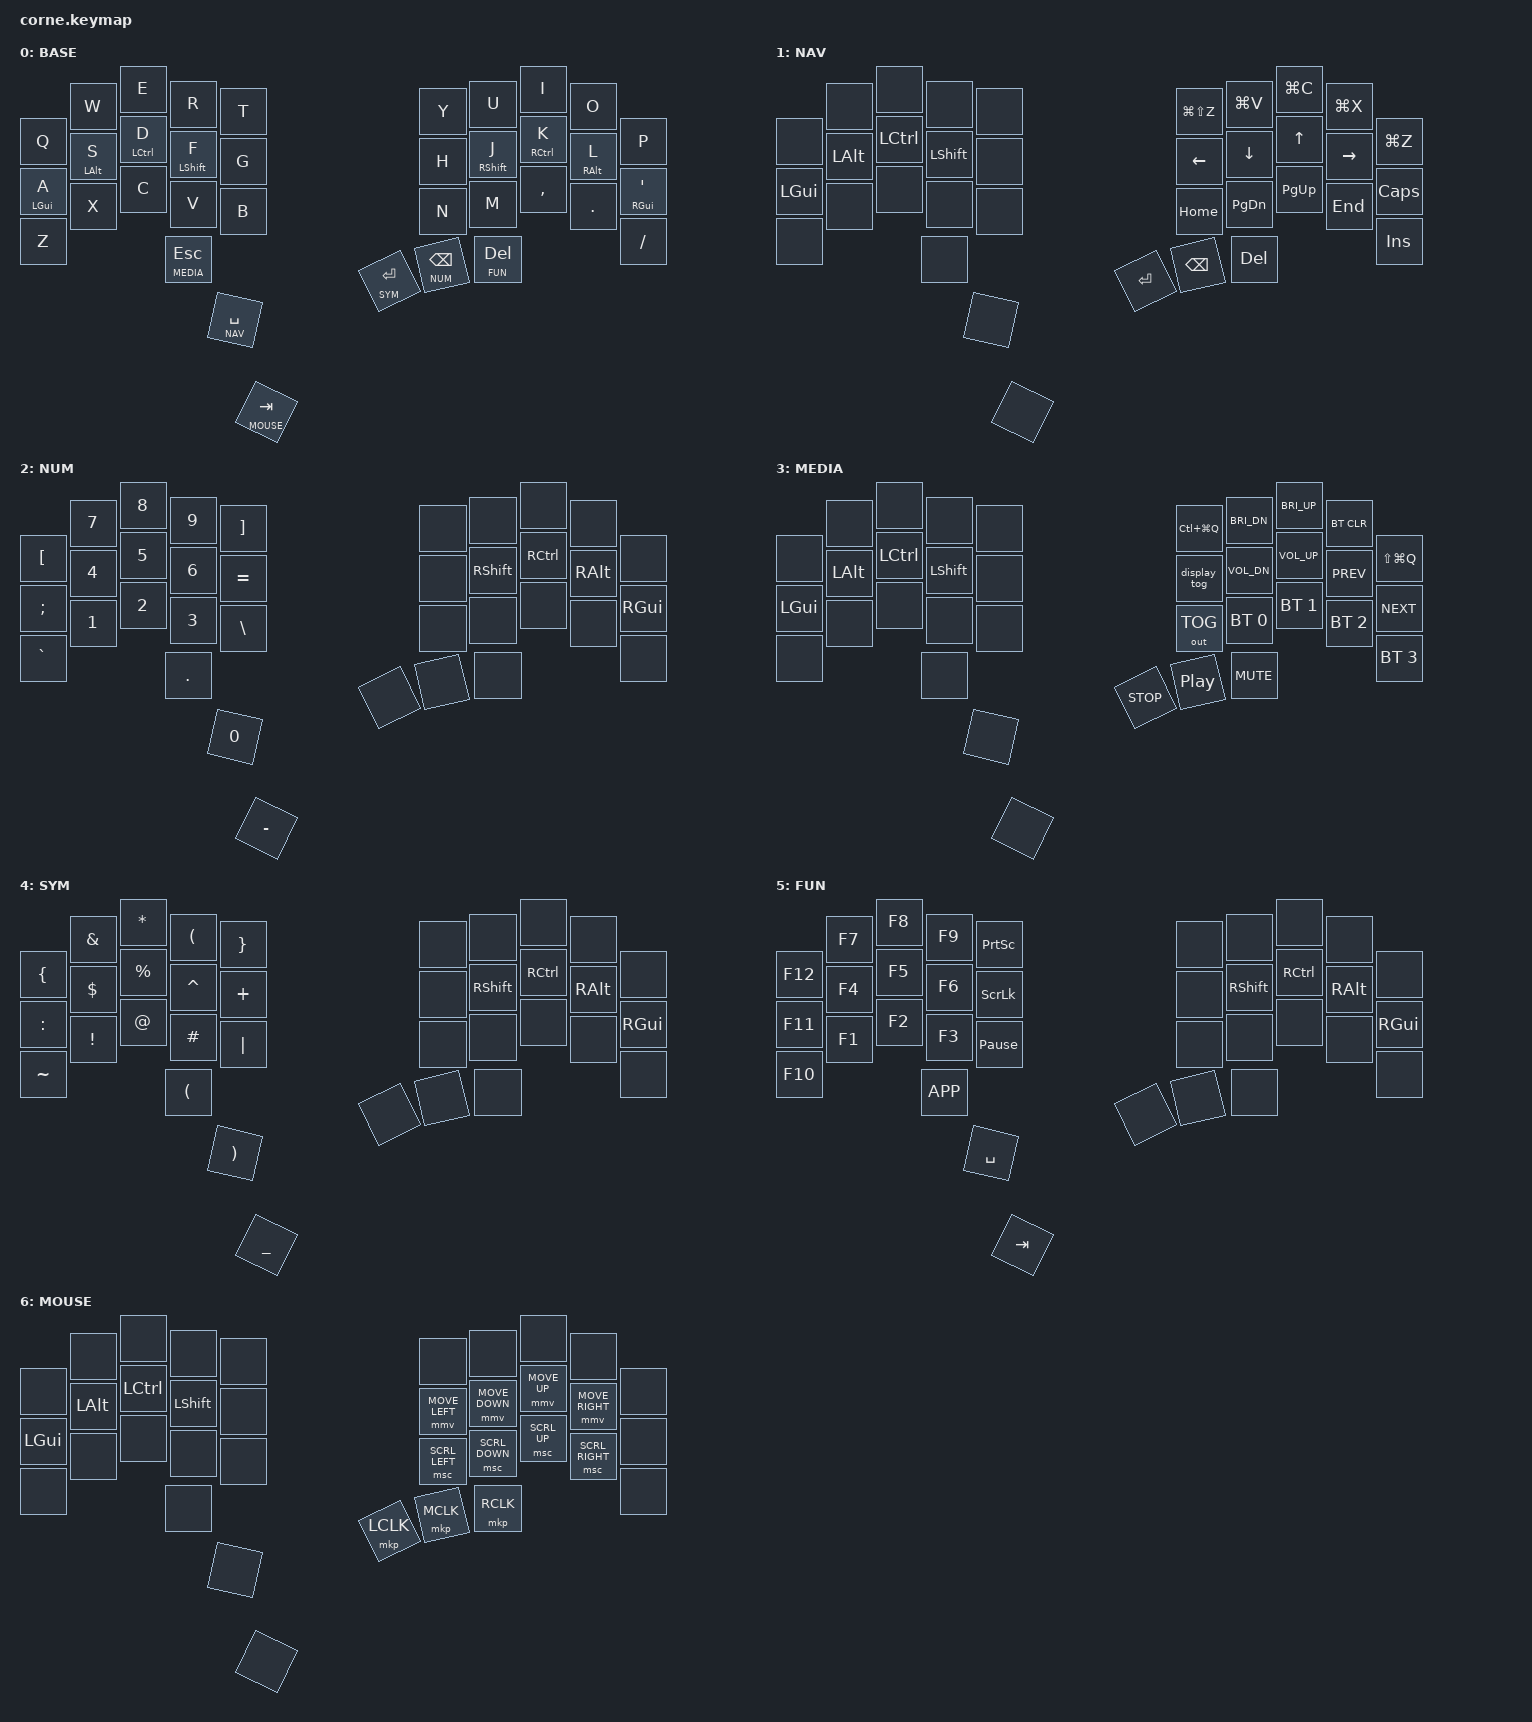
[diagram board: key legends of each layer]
// FilePath: config/corne.keymap

/*
 * Copyright (c) 2020 The ZMK Contributors
 *
 * SPDX-License-Identifier: MIT
 */

// ══════════════════════════════════════════════════════════════════════════════
//   WHAT IS THIS FILE?
//
//   This is the keymap for a Corne split keyboard running ZMK firmware.
//   It is written in Devicetree source format (.keymap / .dtsi): a structured
//   text language that ZMK compiles into firmware you flash to the keyboard.
//   You never write raw HID keycodes or register values — you declare what
//   each key should do and the firmware handles the rest.
//
//   LAYOUT PHILOSOPHY — MIRYOKU-STYLE QWERTY
//
//   This layout follows the Miryoku philosophy: standard QWERTY alpha keys,
//   but every home row key doubles as a modifier when held. This is called
//   "home row mods". The modifier order is GACS (left to right):
//     A = GUI (⌘/Win)  S = ALT  D = CTRL  F = SHIFT  (left hand)
//     ' = GUI          L = ALT  K = CTRL  J = SHIFT  (right hand, mirrored)
//   Tap the key quickly → you get the letter. Hold it for ~200 ms → modifier.
//   This keeps your fingers on the home row and eliminates pinky stretches.
//
//   LAYERS — HOW TO ACCESS ALTERNATE KEY SETS
//
//   A "layer" is an overlay that replaces some or all keys with different
//   outputs. Layers are activated by holding a thumb key. When you release
//   the thumb, the keyboard returns to BASE. There are 7 layers total:
//
//     Layer 0  BASE   — Always active. QWERTY + home row mods.
//     Layer 1  NAV    — Vim arrows (HJKL), Home/End, clipboard. Hold: SPACE.
//     Layer 2  NUM    — Numpad (7-8-9 / 4-5-6 / 1-2-3), brackets. Hold: BSPC.
//     Layer 3  MEDIA  — Volume, brightness, Bluetooth, lock/BT-clear/logout. Hold: ESC.
//     Layer 4  SYM    — Symbols: { } & * ( ) : $ % ^ ~ ! @ # |. Hold: ENTER.
//     Layer 5  FUN    — Function keys F1–F12, Print Screen, Pause. Hold: DEL.
//     Layer 6  MOUSE  — Mouse cursor, scroll wheel, mouse buttons. Hold: TAB.
// ══════════════════════════════════════════════════════════════════════════════

// ──────────────────────────────────────────────────────────────────────────────
//   Corne Keymap — Miryoku-inspired QWERTY with home row mods
// ──────────────────────────────────────────────────────────────────────────────
//
//   Philosophy: keep every finger on or near the home row at all times.
//   Modifiers are embedded in the home row alpha keys (hold = modifier,
//   tap = letter). Layers activate via held thumb keys.
//
//   Miryoku-style layout — QWERTY base, vim arrows (HJKL), GACS home row mods
//   Adapted from TOTEM config for Corne (42-key hardware, configured for 36-key use)
//
//   Layer 0: BASE    — QWERTY + home row mods
//   Layer 1: NAV     — vim arrows, clipboard, nav (hold SPACE)
//   Layer 2: NUM     — numpad left hand (hold BSPC)
//   Layer 3: MEDIA   — media, BT, brightness, lock/BT-clear/logout (hold ESC)
//   Layer 4: SYM     — symbols left hand (hold ENTER)
//   Layer 5: FUN     — function keys left hand (hold DEL)
//   Layer 6: MOUSE   — mouse movement, scroll, buttons (hold TAB)

// ──────────────────────────────────────────────────────────────────────────────
//   Includes
// ──────────────────────────────────────────────────────────────────────────────

// Core ZMK behavior definitions: &mt (mod-tap) and &lt (layer-tap) are
// the built-in behaviors referenced in this file.
#include <behaviors.dtsi>

// Bluetooth control bindings: BT_SEL n (select profile); the MEDIA layer
// uses BT_SEL 0–3 (4 profiles).
#include <dt-bindings/zmk/bt.h>

// Standard HID key codes for every alpha, number, modifier, symbol, and special
// key (TAB, ESC, LGUI, LSHFT, etc.). Required for &kp and &mt bindings.
#include <dt-bindings/zmk/keys.h>

// Output selector bindings (OUT_TOG / OUT_USB / OUT_BLE): switch the active HID
// output between the USB cable and a Bluetooth profile on the fly.
#include <dt-bindings/zmk/outputs.h>

// Pointing device bindings: mmv (mouse move), msc (scroll), mkp (mouse button).
// Requires CONFIG_ZMK_POINTING=y in corne.conf and a recent ZMK build.
#include <dt-bindings/zmk/pointing.h>


// ──────────────────────────────────────────────────────────────────────────────
//   Layer index constants
// ──────────────────────────────────────────────────────────────────────────────
//
//   ZMK layer numbers are plain integers (0-based). Naming them here keeps the
//   keymap readable: &lt NAV SPACE is immediately clear, while &lt 1 SPACE is
//   not. Adding a new layer only requires inserting one #define — no need to
//   audit every binding that references a raw number.

// Always-active base typing layer at the bottom of the layer stack.
#define BASE  0

// Navigation: vim-style cursor movement and clipboard (thumb: hold SPACE).
#define NAV   1

// Numbers: columnar numpad on the left hand (thumb: hold BSPC).
#define NUM   2

// Media & connectivity: volume, playback, Bluetooth (thumb: hold ESC).
#define MEDIA 3

// Symbols: programmer symbol set on the left hand (thumb: hold ENTER).
#define SYM   4

// Function keys: F1–F12 on the left hand (thumb: hold DEL).
#define FUN   5

// Mouse: pointer movement and scroll on the right hand (thumb: hold TAB).
#define MOUSE 6

// ──────────────────────────────────────────────────────────────────────────────
//   &mt — Mod-Tap: global behaviour overrides for home row modifiers
// ──────────────────────────────────────────────────────────────────────────────
//
//   Usage: &mt MODIFIER letter_key
//   Hold → sends the modifier. Tap → sends the letter.
//
//   These settings are tuned for comfortable home row mod usage: letters come
//   out reliably during fast typing, modifiers fire on deliberate holds only.

&mt {
    // "tap-preferred" resolves ambiguous press+release sequences in favour of
    // the tap (letter) output. If you press the mod-tap key and release it
    // before tapping-term-ms elapses — even while another key is held — ZMK
    // records a tap. The modifier only activates on a sustained hold with no
    // release during the window. This prevents accidental modifier firing when
    // rolling quickly across the home row.
    flavor = "tap-preferred";

    // The hold/tap decision window in milliseconds. Holding the key for longer
    // than 200 ms with no release triggers the modifier. Shorter than this and
    // tap-preferred kicks in. 200 ms is a comfortable middle ground: long enough
    // to avoid misfires while touch-typing, short enough that intentional holds
    // feel instant.
    tapping-term-ms = <200>;

    // If the same mod-tap key is pressed again within 175 ms of its previous
    // release, ZMK treats the second press as a tap regardless of how long it is
    // held. This enables fast key-repeat (tap once, then hold to repeat the
    // letter) without accidentally engaging the modifier on the second press.
    quick-tap-ms = <175>;

    // The keyboard must have been idle for at least 150 ms before a hold on
    // this key can activate the modifier. This is the most important setting for
    // avoiding phantom modifiers: when typing quickly, the natural pause before
    // intentionally reaching for a modifier is longer than 150 ms, so legitimate
    // mods still fire. But a home row key pressed immediately after another key
    // (a common typing roll) will never accidentally trigger a modifier.
    require-prior-idle-ms = <150>;
};

// ──────────────────────────────────────────────────────────────────────────────
//   &lt — Layer-Tap: global behaviour overrides for thumb cluster keys
// ──────────────────────────────────────────────────────────────────────────────
//
//   Usage: &lt LAYER_NUMBER key
//   Hold → activates the named layer. Tap → sends the key.
//
//   Uses "balanced" flavour (unlike &mt's "tap-preferred") because thumb-held
//   layer switches usually overlap with other keys being pressed on the opposite
//   hand. Balanced correctly resolves these overlapping chords as a layer hold.

&lt {
    // "balanced" resolves the hold/tap decision when another key is both pressed
    // AND released inside the tapping-term window. In that case ZMK decides it
    // was a layer hold — you get the layer output for that overlapping key.
    // This makes "thumb down → finger presses key → thumb up" sequences reliable
    // at any typing speed, which is the primary usage pattern for layer-tap keys.
    flavor = "balanced";

    // Same 200 ms window as &mt for a consistent feel across the whole keyboard.
    // Thumb holds for layer access feel snappy at this value.
    tapping-term-ms = <200>;

    // Enables tap-then-hold to repeat the tapped key (e.g. tap BSPC, then hold
    // BSPC again to keep deleting). Without this, the second hold would activate
    // the NUM layer instead of repeating backspace.
    quick-tap-ms = <175>;
};

/ {

    behaviors {
        display_tog: display_toggle {
            compatible = "zmk,behavior-display-toggle";
            #binding-cells = <0>;
        };
    };

    keymap {
        compatible = "zmk,keymap";

        // ──────────────────────────────────────────────────────────────────────
        //   Layer 0: BASE — QWERTY with GACS home row mods
        // ──────────────────────────────────────────────────────────────────────
        //
        //   The default layer — always active unless a thumb hold overrides it.
        //   Standard QWERTY alpha layout with no surprises to the fingers, but
        //   every home row key doubles as a modifier on hold.
        //
        //   Home row mods follow the GACS order (left to right on each hand):
        //     Left hand:   A = GUI (⌘/Win)   S = Alt   D = Ctrl   F = Shift
        //     Right hand:  J = Shift   K = Ctrl   L = Alt   ' = GUI (⌘/Win)
        //   GACS places Shift on the index finger (closest to the centre)
        //   because it is by far the most-used modifier. GUI/Win sits on the
        //   pinky because it is the least frequently used in isolation.
        //
        //   Thumb cluster — hold activates the layer, tap sends the key:
        //     Left:   [MEDIA/ESC]  [NAV/SPACE]  [MOUSE/TAB]
        //     Right:  [SYM/ENTER]  [NUM/BSPC]   [FUN/DEL]
        //
        // ┌─────────┬─────────┬─────────┬─────────┬─────────┐   ┌─────────┬─────────┬─────────┬─────────┬─────────┐
        // │    Q    │    W    │    E    │    R    │    T    │   │    Y    │    U    │    I    │    O    │    P    │
        // ├─────────┼─────────┼─────────┼─────────┼─────────┤   ├─────────┼─────────┼─────────┼─────────┼─────────┤
        // │  GUI/A  │  ALT/S  │ CTRL/D  │ SHFT/F  │    G    │   │    H    │ SHFT/J  │ CTRL/K  │  ALT/L  │  GUI/'  │
        // ├─────────┼─────────┼─────────┼─────────┼─────────┤   ├─────────┼─────────┼─────────┼─────────┼─────────┤
        // │    Z    │    X    │    C    │    V    │    B    │   │    N    │    M    │    ,    │    .    │    /    │
        // └─────────┴─────────┴─────────┴─────────┴─────────┘   └─────────┴─────────┴─────────┴─────────┴─────────┘
        //                               ┌──────────────┬──────────────┬──────────────┐   ┌──────────────┬──────────────┬──────────────┐
        //                               │  MEDIA / ESC │  NAV / SPC  │ MOUSE / TAB  │   │  SYM / RET   │  NUM / BSPC  │  FUN / DEL   │
        //                               └──────────────┴──────────────┴──────────────┘   └──────────────┴──────────────┴──────────────┘
        base_layer {
            display-name = "BASE";
            bindings = <
&kp Q       &kp W       &kp E         &kp R         &kp T          &kp Y       &kp U         &kp I         &kp O        &kp P
&mt LGUI A  &mt LALT S  &mt LCTRL D   &mt LSHFT F   &kp G          &kp H       &mt RSHFT J   &mt RCTRL K   &mt RALT L   &mt RGUI SQT
&kp Z       &kp X       &kp C         &kp V         &kp B          &kp N       &kp M         &kp COMMA     &kp DOT      &kp FSLH
                        &lt MEDIA ESC &lt NAV SPACE &lt MOUSE TAB  &lt SYM RET &lt NUM BSPC  &lt FUN DEL
            >;
        };

        // ──────────────────────────────────────────────────────────────────────
        //   Layer 1: NAV — Navigation and clipboard (thumb: hold SPACE)
        // ──────────────────────────────────────────────────────────────────────
        //
        //   Activated by holding the centre-left thumb key. Tap still sends Space.
        //
        //   Right hand — navigation cluster:
        //     Top row:    Redo (⌘⇧Z)  Paste (⌘V)  Copy (⌘C)  Cut (⌘X)  Undo (⌘Z)
        //       Clipboard shortcuts fill the top row so they're reachable while
        //       the left thumb holds NAV and the right hand navigates.
        //     Home row:   ← ↓ ↑ → on H J K L (vim arrow positions), then Caps Lock
        //       Pure muscle memory transfer from vim/tmux to system-level navigation.
        //     Bottom row: Home  PgDn  PgUp  End  Insert
        //       Extends the arrow cluster downward in the same HJKL columns.
        //
        //   Left hand — bare modifiers on the home row (no alpha output):
        //     GUI  Alt  Ctrl  Shift
        //     Hold any of these while the right hand navigates to select text
        //     (Shift+arrows), jump words (Alt+arrows), or invoke shortcuts.
        //
        //   Thumb right: RET, BSPC, DEL remain active so you can confirm,
        //   delete, or backspace while navigating — no need to release the layer.
        //
        // ┌─────────┬─────────┬─────────┬─────────┬─────────┐   ┌─────────┬─────────┬─────────┬─────────┬─────────┐
        // │   ---   │   ---   │   ---   │   ---   │   ---   │   │  REDO   │  PASTE  │  COPY   │   CUT   │  UNDO   │
        // ├─────────┼─────────┼─────────┼─────────┼─────────┤   ├─────────┼─────────┼─────────┼─────────┼─────────┤
        // │   GUI   │   ALT   │  CTRL   │  SHFT   │   ---   │   │  LEFT   │  DOWN   │   UP    │  RIGHT  │  CAPS   │
        // ├─────────┼─────────┼─────────┼─────────┼─────────┤   ├─────────┼─────────┼─────────┼─────────┼─────────┤
        // │   ---   │   ---   │   ---   │   ---   │   ---   │   │  HOME   │  PGDN   │  PGUP   │   END   │   INS   │
        // └─────────┴─────────┴─────────┴─────────┴─────────┘   └─────────┴─────────┴─────────┴─────────┴─────────┘
        //                               ┌──────────────┬──────────────┬──────────────┐   ┌──────────────┬──────────────┬──────────────┐
        //                               │     ---      │   [HELD]     │     ---      │   │     RET      │     BSPC     │     DEL      │
        //                               └──────────────┴──────────────┴──────────────┘   └──────────────┴──────────────┴──────────────┘
        nav_layer {
            display-name = "NAV";
            bindings = <
&none       &none       &none         &none         &none          &kp LG(LS(Z)) &kp LG(V)   &kp LG(C)     &kp LG(X)    &kp LG(Z)
&kp LGUI    &kp LALT    &kp LCTRL     &kp LSHFT     &none          &kp LEFT    &kp DOWN      &kp UP        &kp RIGHT    &kp CAPS
&none       &none       &none         &none         &none          &kp HOME    &kp PG_DN     &kp PG_UP     &kp END      &kp INS
                        &none         &none         &none          &kp RET     &kp BSPC      &kp DEL
            >;
        };

        // ──────────────────────────────────────────────────────────────────────
        //   Layer 2: NUM — Columnar numpad (thumb: hold BSPC)
        // ──────────────────────────────────────────────────────────────────────
        //
        //   Activated by holding the centre-right thumb key. Tap still sends BSPC.
        //
        //   Left hand — numpad layout across three rows:
        //     Top row:    [  7  8  9  ]
        //     Home row:   ;  4  5  6  =
        //     Bottom row: `  1  2  3  \
        //   The digit columns match a hardware numpad's layout (7-8-9 on top,
        //   then 4-5-6, then 1-2-3) so numpad muscle memory transfers directly.
        //   Flanking characters [ ] ; = ` \ are the punctuation marks most
        //   commonly needed alongside numbers in code (array indexing, assignment,
        //   bitwise ops, path separators).
        //
        //   Thumb left: .  0  -
        //   Decimal point, zero, and minus complete the numpad; these three keys
        //   let you type any number or simple arithmetic expression without
        //   shifting the left hand off its home position.
        //
        //   Right hand — held modifiers on the home row:
        //     Shift  Ctrl  Alt  GUI
        //   Allows modifier+number shortcuts (e.g. ⌘1–9 for tabs/windows) and
        //   Shift+number for the shifted symbol set on non-US layouts.
        //
        // ┌─────────┬─────────┬─────────┬─────────┬─────────┐   ┌─────────┬─────────┬─────────┬─────────┬─────────┐
        // │    [    │    7    │    8    │    9    │    ]    │   │   ---   │   ---   │   ---   │   ---   │   ---   │
        // ├─────────┼─────────┼─────────┼─────────┼─────────┤   ├─────────┼─────────┼─────────┼─────────┼─────────┤
        // │    ;    │    4    │    5    │    6    │    =    │   │   ---   │  SHFT   │  CTRL   │   ALT   │   GUI   │
        // ├─────────┼─────────┼─────────┼─────────┼─────────┤   ├─────────┼─────────┼─────────┼─────────┼─────────┤
        // │    `    │    1    │    2    │    3    │    \    │   │   ---   │   ---   │   ---   │   ---   │   ---   │
        // └─────────┴─────────┴─────────┴─────────┴─────────┘   └─────────┴─────────┴─────────┴─────────┴─────────┘
        //                               ┌──────────────┬──────────────┬──────────────┐   ┌──────────────┬──────────────┬──────────────┐
        //                               │      .       │      0       │      -       │   │     ---      │   [HELD]     │     ---      │
        //                               └──────────────┴──────────────┴──────────────┘   └──────────────┴──────────────┴──────────────┘
        num_layer {
            display-name = "NUM";
            bindings = <
&kp LBKT    &kp N7      &kp N8        &kp N9        &kp RBKT       &none       &none         &none         &none        &none
&kp SEMI    &kp N4      &kp N5        &kp N6        &kp EQUAL      &none       &kp RSHFT     &kp RCTRL     &kp RALT     &kp RGUI
&kp GRAVE   &kp N1      &kp N2        &kp N3        &kp BSLH       &none       &none         &none         &none        &none
                        &kp DOT       &kp N0        &kp MINUS      &none       &none         &none
            >;
        };

        // ──────────────────────────────────────────────────────────────────────
        //   Layer 3: MEDIA — Media, Bluetooth, Power (thumb: hold ESC)
        // ──────────────────────────────────────────────────────────────────────
        //
        //   Activated by holding the leftmost left-thumb key. Tap still sends ESC.
        //   This is the "system settings" layer — everything that changes how the
        //   keyboard behaves or what it connects to lives here.
        //
        //   Right hand — top row: session + screen controls, inner → outer:
        //     LOCK  (⌃⌘Q)     — lock the screen
        //     BRI_DN / BRI_UP — screen brightness, above the C_VOL_DN / C_VOL_UP keys
        //     BT_CLR          — clear the bond for the currently selected Bluetooth profile (re-pair that profile)
        //     LOGOUT (⇧⌘Q)    — log out (shows the macOS logout dialog)
        //
        //   Right hand — home row (system-level controls):
        //     DISP_TOG — toggle OLED display on/off (BLANK_ON_IDLE=n makes this the sole owner)
        //     C_VOL_DN — volume down
        //     C_VOL_UP — volume up
        //     C_PREV   — previous track
        //     C_NEXT   — next track
        //
        //   Right hand — bottom row (Bluetooth and output):
        //     OUT_TOG    — toggle between USB and Bluetooth HID output
        //     BT_SEL 0–3 — switch the active Bluetooth profile (0 = first paired device)
        //
        //   Thumb right: Stop  Play/Pause  Mute — transport controls under the right thumb.
        //   Left hand: bare held modifiers (same pattern as NAV/NUM).
        //
        // ┌─────────┬─────────┬─────────┬─────────┬─────────┐   ┌─────────┬─────────┬─────────┬─────────┬─────────┐
        // │   ---   │   ---   │   ---   │   ---   │   ---   │   │  LOCK   │ BRI_DN  │ BRI_UP  │ BT_CLR  │ LOGOUT  │
        // ├─────────┼─────────┼─────────┼─────────┼─────────┤   ├─────────┼─────────┼─────────┼─────────┼─────────┤
        // │   GUI   │   ALT   │  CTRL   │  SHFT   │   ---   │   │DISP_TOG │ VOL_DN  │ VOL_UP  │ C_PREV  │ C_NEXT  │
        // ├─────────┼─────────┼─────────┼─────────┼─────────┤   ├─────────┼─────────┼─────────┼─────────┼─────────┤
        // │   ---   │   ---   │   ---   │   ---   │   ---   │   │OUT_TOG  │  BT 0   │  BT 1   │  BT 2   │  BT 3   │
        // └─────────┴─────────┴─────────┴─────────┴─────────┘   └─────────┴─────────┴─────────┴─────────┴─────────┘
        //                               ┌──────────────┬──────────────┬──────────────┐   ┌──────────────┬──────────────┬──────────────┐
        //                               │   [HELD]     │     ---      │     ---      │   │     STOP     │  PLAY/PAUSE  │     MUTE     │
        //                               └──────────────┴──────────────┴──────────────┘   └──────────────┴──────────────┴──────────────┘
        media_layer {
            display-name = "MEDIA";
            bindings = <
&none       &none       &none         &none         &none          &kp LC(LG(Q))  &kp C_BRI_DN   &kp C_BRI_UP   &bt BT_CLR     &kp LS(LG(Q))
&kp LGUI    &kp LALT    &kp LCTRL     &kp LSHFT     &none          &display_tog   &kp C_VOL_DN   &kp C_VOL_UP   &kp C_PREV   &kp C_NEXT
&none       &none       &none         &none         &none          &out OUT_TOG &bt BT_SEL 0  &bt BT_SEL 1  &bt BT_SEL 2 &bt BT_SEL 3
                        &none         &none         &none          &kp C_STOP  &kp C_PP      &kp C_MUTE
            >;
        };

        // ──────────────────────────────────────────────────────────────────────
        //   Layer 4: SYM — Programmer symbols (thumb: hold ENTER)
        // ──────────────────────────────────────────────────────────────────────
        //
        //   Activated by holding the leftmost right-thumb key. Tap still sends Enter.
        //
        //   Left hand — all symbols, arranged in three rows mirroring NUM's layout:
        //     Top row:    {  &  *  (  }
        //       Curly braces bracket the row (common in all C-family and shell code).
        //       Inner keys carry the "top-row shifted" symbols: & * (
        //     Home row:   :  $  %  ^  +
        //       Colon on the pinky mirrors ; from NUM — : and ; are paired opposites.
        //       Dollar, percent, caret, plus fill in the remaining shifted digits.
        //     Bottom row: ~  !  @  #  |
        //       Shell metacharacters and common punctuation: tilde (home dir),
        //       bang (negation/shebang), at (email/decorator), hash (comment/tag),
        //       pipe (shell redirect).
        //
        //   Thumb left:  (  )  _
        //     Open paren, close paren, and underscore on the thumb cluster allow
        //     typing (expression) and snake_case identifiers with thumb + finger
        //     combos, keeping the left hand free for modifiers if needed.
        //
        //   Right hand: held modifiers on the home row (Shift, Ctrl, Alt, GUI).
        //   Everything else on the right is blank — SYM is a left-hand-only layer.
        //
        // ┌─────────┬─────────┬─────────┬─────────┬─────────┐   ┌─────────┬─────────┬─────────┬─────────┬─────────┐
        // │    {    │    &    │    *    │    (    │    }    │   │   ---   │   ---   │   ---   │   ---   │   ---   │
        // ├─────────┼─────────┼─────────┼─────────┼─────────┤   ├─────────┼─────────┼─────────┼─────────┼─────────┤
        // │    :    │    $    │    %    │    ^    │    +    │   │   ---   │  SHFT   │  CTRL   │   ALT   │   GUI   │
        // ├─────────┼─────────┼─────────┼─────────┼─────────┤   ├─────────┼─────────┼─────────┼─────────┼─────────┤
        // │    ~    │    !    │    @    │    #    │    |    │   │   ---   │   ---   │   ---   │   ---   │   ---   │
        // └─────────┴─────────┴─────────┴─────────┴─────────┘   └─────────┴─────────┴─────────┴─────────┴─────────┘
        //                               ┌──────────────┬──────────────┬──────────────┐   ┌──────────────┬──────────────┬──────────────┐
        //                               │      (       │      )       │      _       │   │   [HELD]     │     ---      │     ---      │
        //                               └──────────────┴──────────────┴──────────────┘   └──────────────┴──────────────┴──────────────┘
        sym_layer {
            display-name = "SYM";
            bindings = <
&kp LBRC    &kp AMPS    &kp ASTRK     &kp LPAR      &kp RBRC       &none       &none         &none         &none        &none
&kp COLON   &kp DLLR    &kp PRCNT     &kp CARET     &kp PLUS       &none       &kp RSHFT     &kp RCTRL     &kp RALT     &kp RGUI
&kp TILDE   &kp EXCL    &kp AT        &kp HASH      &kp PIPE       &none       &none         &none         &none        &none
                        &kp LPAR      &kp RPAR      &kp UNDER      &none       &none         &none
            >;
        };

        // ──────────────────────────────────────────────────────────────────────
        //   Layer 5: FUN — Function keys F1–F12 (thumb: hold DEL)
        // ──────────────────────────────────────────────────────────────────────
        //
        //   Activated by holding the rightmost right-thumb key. Tap still sends DEL.
        //
        //   Left hand — F-keys in the same columnar numpad layout as NUM digits:
        //     Top row:    F12  F7  F8  F9  PSCRN (Print Screen)
        //     Home row:   F11  F4  F5  F6  SLCK  (Scroll Lock)
        //     Bottom row: F10  F1  F2  F3  PAUSE_BREAK
        //   F7–F9, F4–F6, F1–F3 follow the same 7-8-9 / 4-5-6 / 1-2-3 column
        //   positions as the numpad, so the muscle memory from NUM transfers.
        //   F10/F11/F12 fill the pinky column (mirroring how a numpad has an
        //   extra row at the top). PSCRN, SLCK, PAUSE_BREAK occupy the rightmost
        //   column — the "extra cluster" that traditionally sits beside F-keys.
        //
        //   Thumb left: K_APP (context-menu/application key)  SPACE  TAB
        //     These allow combinations like Alt+F4, Shift+F6, or App+F10
        //     without needing a second thumb held down.
        //
        //   Right hand: held modifiers on the home row (Shift, Ctrl, Alt, GUI).
        //   All other right-hand keys are blank — FUN is a left-hand-only layer.
        //
        // ┌─────────┬─────────┬─────────┬─────────┬─────────┐   ┌─────────┬─────────┬─────────┬─────────┬─────────┐
        // │   F12   │   F7    │   F8    │   F9    │  PSCRN  │   │   ---   │   ---   │   ---   │   ---   │   ---   │
        // ├─────────┼─────────┼─────────┼─────────┼─────────┤   ├─────────┼─────────┼─────────┼─────────┼─────────┤
        // │   F11   │   F4    │   F5    │   F6    │  SLCK   │   │   ---   │  SHFT   │  CTRL   │   ALT   │   GUI   │
        // ├─────────┼─────────┼─────────┼─────────┼─────────┤   ├─────────┼─────────┼─────────┼─────────┼─────────┤
        // │   F10   │   F1    │   F2    │   F3    │  PAUSE  │   │   ---   │   ---   │   ---   │   ---   │   ---   │
        // └─────────┴─────────┴─────────┴─────────┴─────────┘   └─────────┴─────────┴─────────┴─────────┴─────────┘
        //                               ┌──────────────┬──────────────┬──────────────┐   ┌──────────────┬──────────────┬──────────────┐
        //                               │    K_APP     │    SPACE     │     TAB      │   │     ---      │     ---      │   [HELD]     │
        //                               └──────────────┴──────────────┴──────────────┘   └──────────────┴──────────────┴──────────────┘
        fun_layer {
            display-name = "FUN";
            bindings = <
&kp F12     &kp F7      &kp F8        &kp F9        &kp PSCRN      &none       &none         &none         &none        &none
&kp F11     &kp F4      &kp F5        &kp F6        &kp SLCK       &none       &kp RSHFT     &kp RCTRL     &kp RALT     &kp RGUI
&kp F10     &kp F1      &kp F2        &kp F3        &kp PAUSE_BREAK &none      &none         &none         &none        &none
                        &kp K_APP     &kp SPACE     &kp TAB        &none       &none         &none
            >;
        };

        // ──────────────────────────────────────────────────────────────────────
        //   Layer 6: MOUSE — Pointer movement and scrolling (thumb: hold TAB)
        // ──────────────────────────────────────────────────────────────────────
        //
        //   Activated by holding the rightmost left-thumb key. Tap still sends TAB.
        //   Requires CONFIG_ZMK_POINTING=y in corne.conf to compile.
        //
        //   Right hand — pointer control:
        //     Home row: mmv (mouse move) LEFT / DOWN / UP / RIGHT on H J K L
        //       Exactly the same HJKL positions as the NAV layer's arrow keys —
        //       the directional logic is identical, just controlling the pointer
        //       instead of the text cursor.
        //     Bottom row: msc (scroll) SCRL_LEFT / SCRL_DOWN / SCRL_UP / SCRL_RIGHT
        //       Scroll mirrors the pointer row one row below, same column order.
        //       Horizontal scroll is included for spreadsheets and wide canvases.
        //
        //   Thumb right: mkp (mouse button) LCLK / MCLK / RCLK
        //     Left, Middle, Right click under the right thumb, mirroring a
        //     physical mouse: left-click on the inner thumb, middle in the
        //     centre, right-click on the outer thumb. The right hand can move
        //     the pointer while the right thumb clicks — no need to lift off
        //     the layer.
        //
        //   Left hand — bare modifiers on the home row (GUI  Alt  Ctrl  Shift):
        //     Shift+click = extend selection; Ctrl+click = multi-select;
        //     Cmd+click = open link in new tab. All reachable without releasing
        //     the MOUSE layer.
        //
        //   Top row and remaining keys: all blank — nothing needed there.
        //
        // ┌─────────┬─────────┬─────────┬─────────┬─────────┐   ┌─────────┬─────────┬─────────┬─────────┬─────────┐
        // │   ---   │   ---   │   ---   │   ---   │   ---   │   │   ---   │   ---   │   ---   │   ---   │   ---   │
        // ├─────────┼─────────┼─────────┼─────────┼─────────┤   ├─────────┼─────────┼─────────┼─────────┼─────────┤
        // │   GUI   │   ALT   │  CTRL   │  SHFT   │   ---   │   │ M_LEFT  │ M_DOWN  │  M_UP   │ M_RIGHT │   ---   │
        // ├─────────┼─────────┼─────────┼─────────┼─────────┤   ├─────────┼─────────┼─────────┼─────────┼─────────┤
        // │   ---   │   ---   │   ---   │   ---   │   ---   │   │ SC_LEFT │ SC_DOWN │  SC_UP  │SC_RIGHT │   ---   │
        // └─────────┴─────────┴─────────┴─────────┴─────────┘   └─────────┴─────────┴─────────┴─────────┴─────────┘
        //                               ┌──────────────┬──────────────┬──────────────┐   ┌──────────────┬──────────────┬──────────────┐
        //                               │     ---      │     ---      │   [HELD]     │   │   LFT CLK    │   MID CLK    │   RGT CLK    │
        //                               └──────────────┴──────────────┴──────────────┘   └──────────────┴──────────────┴──────────────┘
        mouse_layer {
            display-name = "MOUSE";
            bindings = <
&none       &none       &none         &none         &none          &none            &none            &none          &none             &none
&kp LGUI    &kp LALT    &kp LCTRL     &kp LSHFT     &none          &mmv MOVE_LEFT   &mmv MOVE_DOWN   &mmv MOVE_UP   &mmv MOVE_RIGHT   &none
&none       &none       &none         &none         &none          &msc SCRL_LEFT   &msc SCRL_DOWN   &msc SCRL_UP   &msc SCRL_RIGHT   &none
                        &none         &none         &none          &mkp LCLK        &mkp MCLK        &mkp RCLK
            >;
        };
    };
};
